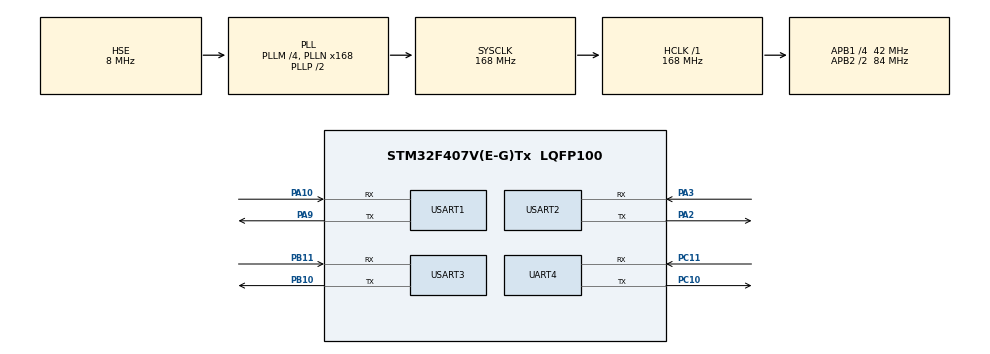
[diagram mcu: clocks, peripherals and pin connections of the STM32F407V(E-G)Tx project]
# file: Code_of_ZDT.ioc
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Dma.MEMTOMEM.2.Direction=DMA_MEMORY_TO_MEMORY
Dma.MEMTOMEM.2.FIFOMode=DMA_FIFOMODE_ENABLE
Dma.MEMTOMEM.2.FIFOThreshold=DMA_FIFO_THRESHOLD_FULL
Dma.MEMTOMEM.2.Instance=DMA2_Stream1
Dma.MEMTOMEM.2.MemBurst=DMA_MBURST_SINGLE
Dma.MEMTOMEM.2.MemDataAlignment=DMA_MDATAALIGN_BYTE
Dma.MEMTOMEM.2.MemInc=DMA_MINC_ENABLE
Dma.MEMTOMEM.2.Mode=DMA_NORMAL
Dma.MEMTOMEM.2.PeriphBurst=DMA_PBURST_SINGLE
Dma.MEMTOMEM.2.PeriphDataAlignment=DMA_PDATAALIGN_BYTE
Dma.MEMTOMEM.2.PeriphInc=DMA_PINC_ENABLE
Dma.MEMTOMEM.2.Priority=DMA_PRIORITY_LOW
Dma.Request0=USART1_RX
Dma.Request1=USART1_TX
Dma.Request2=MEMTOMEM
Dma.Request3=USART2_RX
Dma.USART1_RX.0.Direction=DMA_PERIPH_TO_MEMORY
Dma.USART1_RX.0.FIFOMode=DMA_FIFOMODE_DISABLE
Dma.USART1_RX.0.Instance=DMA2_Stream2
Dma.USART1_RX.0.MemDataAlignment=DMA_MDATAALIGN_BYTE
Dma.USART1_RX.0.MemInc=DMA_MINC_ENABLE
Dma.USART1_RX.0.Mode=DMA_CIRCULAR
Dma.USART1_RX.0.PeriphDataAlignment=DMA_PDATAALIGN_BYTE
Dma.USART1_RX.0.PeriphInc=DMA_PINC_DISABLE
Dma.USART1_RX.0.Priority=DMA_PRIORITY_HIGH
Dma.USART1_TX.1.Direction=DMA_MEMORY_TO_PERIPH
Dma.USART1_TX.1.FIFOMode=DMA_FIFOMODE_DISABLE
Dma.USART1_TX.1.Instance=DMA2_Stream7
Dma.USART1_TX.1.MemDataAlignment=DMA_MDATAALIGN_BYTE
Dma.USART1_TX.1.MemInc=DMA_MINC_ENABLE
Dma.USART1_TX.1.Mode=DMA_NORMAL
Dma.USART1_TX.1.PeriphDataAlignment=DMA_PDATAALIGN_BYTE
Dma.USART1_TX.1.PeriphInc=DMA_PINC_DISABLE
Dma.USART1_TX.1.Priority=DMA_PRIORITY_HIGH
Dma.USART2_RX.3.Direction=DMA_PERIPH_TO_MEMORY
Dma.USART2_RX.3.FIFOMode=DMA_FIFOMODE_DISABLE
Dma.USART2_RX.3.Instance=DMA1_Stream5
Dma.USART2_RX.3.MemDataAlignment=DMA_MDATAALIGN_BYTE
Dma.USART2_RX.3.MemInc=DMA_MINC_ENABLE
Dma.USART2_RX.3.Mode=DMA_NORMAL
Dma.USART2_RX.3.PeriphDataAlignment=DMA_PDATAALIGN_BYTE
Dma.USART2_RX.3.PeriphInc=DMA_PINC_DISABLE
Dma.USART2_RX.3.Priority=DMA_PRIORITY_MEDIUM
Mcu.Family=STM32F4
Mcu.Name=STM32F407V(E-G)Tx
Mcu.Package=LQFP100
NVIC.DMA1_Stream5_IRQn=true\:0\:0\:false\:false\:true\:false\:true\:true
NVIC.DMA2_Stream2_IRQn=true\:0\:0\:false\:false\:true\:false\:true\:true
NVIC.DMA2_Stream7_IRQn=true\:0\:0\:false\:false\:true\:false\:true\:true
NVIC.PriorityGroup=NVIC_PRIORITYGROUP_4
NVIC.UART4_IRQn=true\:0\:0\:false\:false\:true\:true\:true\:true
NVIC.USART1_IRQn=true\:0\:0\:false\:false\:true\:true\:true\:true
NVIC.USART2_IRQn=true\:0\:0\:false\:false\:true\:true\:true\:true
PA10.GPIO_PuPd=GPIO_PULLUP
PA10.Mode=Asynchronous
PA10.Signal=USART1_RX
PA2.Mode=Asynchronous
PA2.Signal=USART2_TX
PA3.Mode=Asynchronous
PA3.Signal=USART2_RX
PA9.GPIO_PuPd=GPIO_PULLUP
PA9.Mode=Asynchronous
PA9.Signal=USART1_TX
PB10.Mode=Asynchronous
PB10.Signal=USART3_TX
PB11.Mode=Asynchronous
PB11.Signal=USART3_RX
PC10.GPIO_PuPd=GPIO_PULLUP
PC10.Mode=Asynchronous
PC10.Signal=UART4_TX
PC11.GPIO_PuPd=GPIO_PULLUP
PC11.Mode=Asynchronous
PC11.Signal=UART4_RX
PC14-OSC32_IN.Mode=LSE-External-Oscillator
PC14-OSC32_IN.Signal=RCC_OSC32_IN
PC15-OSC32_OUT.Mode=LSE-External-Oscillator
PC15-OSC32_OUT.Signal=RCC_OSC32_OUT
PH0-OSC_IN.Mode=HSE-External-Oscillator
PH0-OSC_IN.Signal=RCC_OSC_IN
PH1-OSC_OUT.Mode=HSE-External-Oscillator
PH1-OSC_OUT.Signal=RCC_OSC_OUT
ProjectManager.HeapSize=0x200
ProjectManager.StackSize=0x400
ProjectManager.TargetToolchain=CMake
RCC.48MHZClocksFreq_Value=84000000
RCC.AHBFreq_Value=168000000
RCC.APB1CLKDivider=RCC_HCLK_DIV4
RCC.APB1Freq_Value=42000000
RCC.APB1TimFreq_Value=84000000
RCC.APB2CLKDivider=RCC_HCLK_DIV2
RCC.APB2Freq_Value=84000000
RCC.APB2TimFreq_Value=168000000
RCC.CortexFreq_Value=168000000
RCC.HCLKFreq_Value=168000000
RCC.HSE_VALUE=8000000
RCC.HSI_VALUE=16000000
RCC.PLLM=4
RCC.PLLN=168
RCC.PLLSourceVirtual=RCC_PLLSOURCE_HSE
RCC.SYSCLKFreq_VALUE=168000000
RCC.SYSCLKSource=RCC_SYSCLKSOURCE_PLLCLK
RCC.VCOOutputFreq_Value=336000000
UART4.VirtualMode=VM_ASYNC
USART1.VirtualMode=VM_ASYNC
USART2.VirtualMode=VM_ASYNC
USART3.VirtualMode=VM_ASYNC
board=custom

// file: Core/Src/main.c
/* USER CODE BEGIN Header */
/**
  ******************************************************************************
  * @file           : main.c
  * @brief          : Main program body
  ******************************************************************************
  * @attention
  *
  * Copyright (c) 2026 STMicroelectronics.
  * All rights reserved.
  *
  * This software is licensed under terms that can be found in the LICENSE file
  * in the root directory of this software component.
  * If no LICENSE file comes with this software, it is provided AS-IS.
  *
  ******************************************************************************
  */
/* USER CODE END Header */
#include "main.h"
#include "dma.h"
#include "usart.h"
#include "gpio.h"

/* USER CODE BEGIN Includes */
#include "Emm_V5.h"
#include "UART_vofa_usage.h"
#include "bt_tune.h"
#include "pid.h"
/* USER CODE END Includes */

/* USER CODE BEGIN PD */

// ========== 步进电机通信参数 ==========
#define MOTOR_ADDR  1      // 电机地址
#define MOTOR_SPEED 1200   // RPM
#define MOTOR_ACC   300    // 加速度档位

/* USER CODE END PD */

/* USER CODE BEGIN PV */

// 钢球位置误差/速度（由 USART2 中断从 MaixCAM 数据解析）
volatile float ball_velocity = 0.0f;  // 钢球速度（cm/s），USART2 中断写、主循环读，必须 volatile

// ── PID 实例（声明在 pid.h）──

// ── 20ms 控制定时标志（SysTick 派生，50Hz）──
volatile uint32_t g_tick_10ms = 0;
volatile bool g_flag_10ms = false;

/* USER CODE END PV */

void SystemClock_Config(void);

int main(void)
{

  /* MCU Configuration--------------------------------------------------------*/

  /* Reset of all peripherals, Initializes the Flash interface and the Systick. */
  HAL_Init();

  /* Configure the system clock */
  SystemClock_Config();

  /* Initialize all configured peripherals */
  MX_GPIO_Init();
  MX_DMA_Init();
  MX_USART1_UART_Init();
  MX_USART2_UART_Init();
  MX_USART3_UART_Init();
  MX_UART4_Init();
  /* USER CODE BEGIN 2 */

  // ========== 启动 UART1 DMA 接收（步进电机） ==========
  HAL_UART_Receive_DMA(&huart1, (uint8_t*)rxCmd, CMD_LEN);
  __HAL_UART_ENABLE_IT(&huart1, UART_IT_IDLE);  // 使能 UART 空闲中断

  // ========== 启动 UART2 DMA 接收（MaixCAM 视觉） ==========
  HAL_UART_Receive_DMA(&huart2, (uint8_t*)rxMaixcam, RX_MAIXCAM_SIZE);
  __HAL_UART_ENABLE_IT(&huart2, UART_IT_IDLE);  // 使能 UART 空闲中断

  // ========== VOFA+ 通道准备（USART3） ==========
  Vofa_usage_prepare();

  // ========== 步进电机初始化 ==========
  HAL_Delay(500);  // 等待串口和电机驱动器就绪
/*
  // 使能电机（只通电锁轴，不会转动）
  Emm_V5_En_Control(MOTOR_ADDR, 1, 0);
  HAL_Delay(100);
*/
  // 等待驱动器上电自动回零完成（0点已在张大头上位机设置好）
  HAL_Delay(3000);
  HAL_Delay(10);

  /* USER CODE END 2 */

  /* Infinite loop */
  /* USER CODE BEGIN WHILE */

  uint32_t last_vofa_time = HAL_GetTick();  // 上次读取+发送时间

  /* 串级 PID 参数与目标点由 pid.c 内部的分段状态机统一装载：
   *   1) 先从 0cm 运动到 +5.6cm；
   *   2) 达到 +5.6cm ±0.5cm 后立刻切到 -5.5cm；
   *   3) 最终在 -5.5cm ±0.5cm 处稳定保持。 */
  BT_Tune_Init();
  while (1)
  {
    /* USER CODE END WHILE */

    /* USER CODE BEGIN 3 */
    BT_Tune_Process();

 if(g_flag_10ms)
    {
        g_flag_10ms = false;    // 清标志
        pid_control__26Y();
    }

    // ========== 视觉数据：每帧更新 ==========
    if(rxMaixcamFlag)
    {
        rxMaixcamFlag = false;
        HAL_GPIO_TogglePin(GPIOC, GPIO_PIN_13);
    }

    // ========== 每10ms：发送 VOFA+ 数据（100Hz） ==========
    if(HAL_GetTick() - last_vofa_time >= 10)
    {
      last_vofa_time = HAL_GetTick();

      // ===== VOFA+ 发送：6通道 =====
      // 所有通道均 ×100 发送，VOFA+ 中 ÷100 后为真实值。
      int32_t vofa_data[6];
      vofa_data[0] = (int32_t)(motor_get_command_angle() * 100.0f);  // ch0: 开环目标角度(°)
      vofa_data[1] = (int32_t)(Y * 100.0f);                          // ch1: 小球位置(cm)
      vofa_data[2] = (int32_t)(ball_velocity * 100.0f);              // ch2: MaixCAM 原始速度(cm/s)，仅诊断
      vofa_data[3] = (int32_t)(pidY.out * 100.0f);                   // ch3: 位置环目标速度(cm/s)
      vofa_data[4] = (int32_t)(pidY_velocity_damping * 100.0f);     // ch4: 速度环输出倾角(°)
      vofa_data[5] = (int32_t)(pidY_filtered_velocity * 100.0f);    // ch5: 本地差分+低通后的控制速度(cm/s)
      Vofa_usage_SendString(vofa_data, 6);
    }

    // ========== 处理 MaixCAM 视觉数据 ==========
    if(rxMaixcamFlag == true)
    {
      rxMaixcamFlag = false;

      // LED指示：收到一帧视觉数据
      HAL_GPIO_TogglePin(GPIOC, GPIO_PIN_13);
    }

  }
  /* USER CODE END 3 */
}

void SystemClock_Config(void)
{
  RCC_OscInitTypeDef RCC_OscInitStruct = {0};
  RCC_ClkInitTypeDef RCC_ClkInitStruct = {0};

  /** Configure the main internal regulator output voltage
  */
  __HAL_RCC_PWR_CLK_ENABLE();
  __HAL_PWR_VOLTAGESCALING_CONFIG(PWR_REGULATOR_VOLTAGE_SCALE1);

  /** Initializes the RCC Oscillators according to the specified parameters
  * in the RCC_OscInitTypeDef structure.
  */
  RCC_OscInitStruct.OscillatorType = RCC_OSCILLATORTYPE_HSE;
  RCC_OscInitStruct.HSEState = RCC_HSE_ON;
  RCC_OscInitStruct.PLL.PLLState = RCC_PLL_ON;
  RCC_OscInitStruct.PLL.PLLSource = RCC_PLLSOURCE_HSE;
  RCC_OscInitStruct.PLL.PLLM = 4;
  RCC_OscInitStruct.PLL.PLLN = 168;
  RCC_OscInitStruct.PLL.PLLP = RCC_PLLP_DIV2;
  RCC_OscInitStruct.PLL.PLLQ = 4;
  if (HAL_RCC_OscConfig(&RCC_OscInitStruct) != HAL_OK)
  {
    Error_Handler();
  }

  /** Initializes the CPU, AHB and APB buses clocks
  */
  RCC_ClkInitStruct.ClockType = RCC_CLOCKTYPE_HCLK|RCC_CLOCKTYPE_SYSCLK
                              |RCC_CLOCKTYPE_PCLK1|RCC_CLOCKTYPE_PCLK2;
  RCC_ClkInitStruct.SYSCLKSource = RCC_SYSCLKSOURCE_PLLCLK;
  RCC_ClkInitStruct.AHBCLKDivider = RCC_SYSCLK_DIV1;
  RCC_ClkInitStruct.APB1CLKDivider = RCC_HCLK_DIV4;
  RCC_ClkInitStruct.APB2CLKDivider = RCC_HCLK_DIV2;

  if (HAL_RCC_ClockConfig(&RCC_ClkInitStruct, FLASH_LATENCY_5) != HAL_OK)
  {
    Error_Handler();
  }
}

void Error_Handler(void)
{
  __disable_irq();
  while (1)
  {
  }
}
